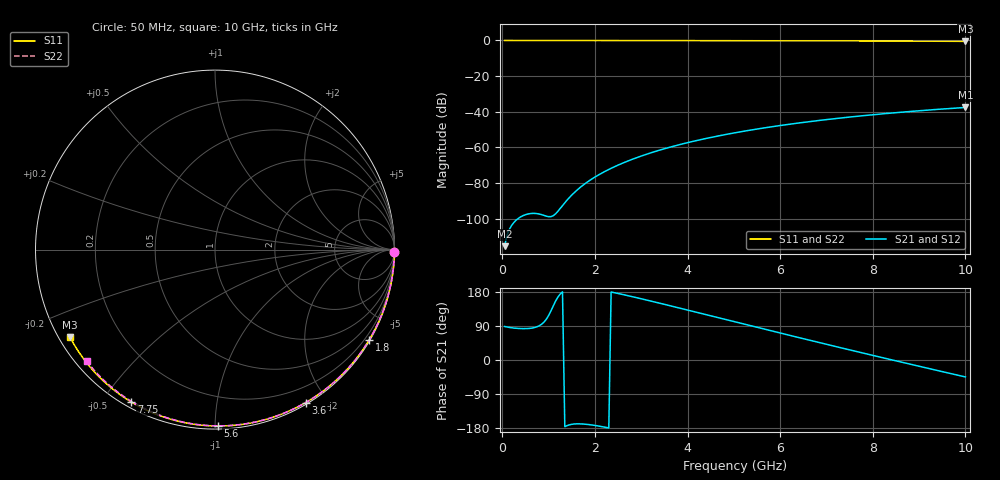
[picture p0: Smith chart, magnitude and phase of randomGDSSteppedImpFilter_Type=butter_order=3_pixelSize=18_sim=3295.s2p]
! freq	dB(S11)	phase(S11)	dB(S12)	phase(S12)
!  dB(S21)	phase(S21)	dB(S22)	phase(S22)
!S-par simulation data
#  GHz  S  DB  R 50
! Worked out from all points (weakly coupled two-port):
!   200 points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, 50 MHz to 10 GHz, reference 50 ohm
!   highest |S21| = -37.55 dB at 10 GHz (marker M1); lowest = -115.3 dB at 50 MHz (marker M2)
!   lowest |S11| = -0.5 dB at 10 GHz (marker M3), VSWR 34.54, Z = 1.56 - j13.9 ohm
!   |S11| at or under -10 dB: nowhere
!   |S22| runs from -0.5 to 0.0 dB; largest |S21 - S12| = 0
!   S11 on the Smith chart (normalised r, x): 50 MHz: open; 1.8 GHz: 0.03, -3.68; 3.6 GHz: 0.02, -1.76; 5.6 GHz: 0.02, -1.01; 7.75 GHz: 0.02, -0.59; 10 GHz: 0.03, -0.28
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0.05  -0.00 -0.9  -115.31 88.5  -115.31 88.5  -0.00 -0.8
0.45  -0.01 -7.7  -98.17 82.8  -98.17 82.8  -0.01 -7.2
0.9  -0.02 -15.4  -98.07 99.9  -98.07 99.9  -0.02 -14.4
1.3  -0.03 -22.1  -92.54 179.8  -92.54 179.8  -0.03 -20.7
1.75  -0.04 -29.6  -80.99 -169.0  -80.99 -169.0  -0.04 -27.8
1.8  -0.04 -30.4  -80.02 -169.5  -80.02 -169.5  -0.04 -28.5
1.95  -0.04 -32.9  -77.39 -171.7  -77.39 -171.7  -0.04 -30.9
2.15  -0.05 -36.2  -74.34 -175.8  -74.34 -175.8  -0.04 -33.9
2.5  -0.05 -41.9  -69.87 175.6  -69.87 175.6  -0.05 -39.3
2.9  -0.06 -48.3  -65.71 164.5  -65.71 164.5  -0.06 -45.3
3.4  -0.07 -56.2  -61.45 149.9  -61.45 149.9  -0.07 -52.8
3.6  -0.08 -59.3  -59.97 143.9  -59.97 143.9  -0.08 -55.7
4.3  -0.10 -70.1  -55.49 122.7  -55.49 122.7  -0.09 -65.8
5.05  -0.12 -81.2  -51.63 99.9  -51.63 99.9  -0.12 -76.3
5.6  -0.15 -89.2  -49.24 83.3  -49.24 83.3  -0.14 -83.8
6.15  -0.17 -96.9  -47.14 66.7  -47.14 66.7  -0.16 -91.1
6.7  -0.20 -104.6  -45.28 50.3  -45.28 50.3  -0.19 -98.3
7.2  -0.24 -111.4  -43.77 35.5  -43.77 35.5  -0.22 -104.7
7.75  -0.28 -118.8  -42.28 19.4  -42.28 19.4  -0.26 -111.6
8.35  -0.33 -126.8  -40.81 2.1  -40.81 2.1  -0.31 -119.0
9.2  -0.41 -138.2  -39.01 -22.2  -39.01 -22.2  -0.38 -129.4
10  -0.50 -148.9  -37.55 -44.7  -37.55 -44.7  -0.47 -139.1
